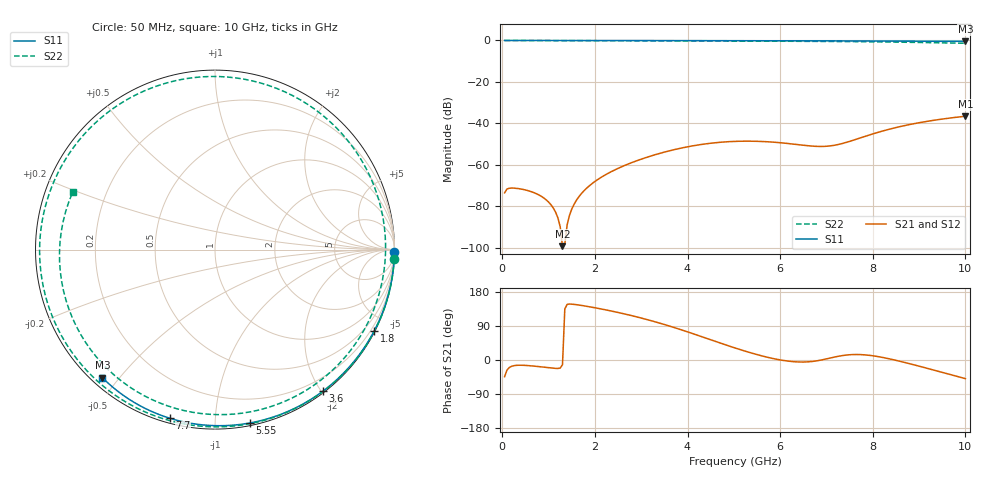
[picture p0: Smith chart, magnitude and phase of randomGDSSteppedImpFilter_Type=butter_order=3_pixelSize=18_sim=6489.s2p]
! freq	dB(S11)	phase(S11)	dB(S12)	phase(S12)
!  dB(S21)	phase(S21)	dB(S22)	phase(S22)
!S-par simulation data
#  GHz  S  DB  R 50
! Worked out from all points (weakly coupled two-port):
!   200 points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, 50 MHz to 10 GHz, reference 50 ohm
!   highest |S21| = -36.58 dB at 10 GHz (marker M1); lowest = -99.3 dB at 1.3 GHz (marker M2)
!   lowest |S11| = -0.4 dB at 10 GHz (marker M3), VSWR 39.08, Z = 1.54 - j22.6 ohm
!   |S11| at or under -10 dB: nowhere
!   |S22| runs from -1.4 to 0.0 dB; largest |S21 - S12| = 0
!   S11 on the Smith chart (normalised r, x): 50 MHz: open; 1.8 GHz: 0.04, -4.18; 3.6 GHz: 0.02, -2.02; 5.55 GHz: 0.02, -1.22; 7.7 GHz: 0.02, -0.77; 10 GHz: 0.03, -0.45
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0.05  -0.00 -0.8  -73.55 -43.9  -73.55 -43.9  -0.00 -2.9
0.15  -0.00 -2.3  -71.32 -20.0  -71.32 -20.0  -0.00 -8.8
0.5  -0.01 -7.6  -72.15 -14.2  -72.15 -14.2  -0.02 -29.0
1.1  -0.02 -16.6  -80.82 -21.7  -80.82 -21.7  -0.07 -62.6
1.3  -0.02 -19.5  -99.28 -12.5  -99.28 -12.5  -0.09 -73.4
1.5  -0.03 -22.5  -81.40 147.4  -81.40 147.4  -0.10 -84.0
1.75  -0.03 -26.2  -72.88 143.2  -72.88 143.2  -0.12 -97.0
1.8  -0.03 -26.9  -71.75 142.2  -71.75 142.2  -0.12 -99.5
2.65  -0.05 -39.3  -60.26 121.3  -60.26 121.3  -0.16 -141.4
3.4  -0.07 -49.9  -54.50 97.3  -54.50 97.3  -0.20 -177.2
3.6  -0.07 -52.6  -53.31 89.9  -53.31 89.9  -0.21 173.2
4.3  -0.09 -62.2  -50.19 61.8  -50.19 61.8  -0.25 138.9
5.05  -0.11 -72.2  -48.69 30.8  -48.69 30.8  -0.30 99.7
5.55  -0.13 -78.6  -48.71 12.6  -48.71 12.6  -0.34 71.8
6.2  -0.16 -86.8  -49.81 -3.4  -49.81 -3.4  -0.39 34.1
6.7  -0.18 -93.0  -51.00 -3.8  -51.00 -3.8  -0.43 4.5
7.15  -0.20 -98.5  -50.67 7.1  -50.67 7.1  -0.49 -22.1
7.7  -0.24 -105.0  -47.27 14.4  -47.27 14.4  -0.58 -54.2
8.35  -0.29 -112.6  -42.87 3.3  -42.87 3.3  -0.74 -92.1
8.8  -0.32 -117.8  -40.56 -9.9  -40.56 -9.9  -0.89 -119.0
9.3  -0.37 -123.4  -38.59 -26.0  -38.59 -26.0  -1.08 -151.0
10  -0.44 -131.3  -36.58 -49.2  -36.58 -49.2  -1.36 158.0
